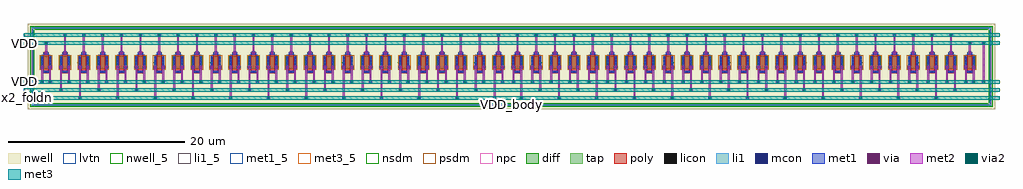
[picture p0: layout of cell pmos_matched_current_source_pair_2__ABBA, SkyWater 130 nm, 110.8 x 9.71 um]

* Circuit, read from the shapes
.subckt pmos_matched_current_source_pair_2__ABBA VDD VDD_body bias_b x2_foldn x2_foldp
XM1 VDD VDD VDD VDD_body sky130_fd_pr__pfet_01v8_lvt w=1.4 l=0.6 m=2
XM2 VDD bias_b x2_foldp VDD_body sky130_fd_pr__pfet_01v8_lvt w=1.4 l=0.6 m=24
XM3 VDD bias_b x2_foldn VDD_body sky130_fd_pr__pfet_01v8_lvt w=1.4 l=0.6 m=24
.ends

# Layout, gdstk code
from math import pi, radians
import gdstk
lib = gdstk.Library(unit=1e-6, precision=1e-09)
def R(c, l, rs):  # rectangles x0, y0, x1, y1
    for r in rs: c.add(gdstk.rectangle(r[:2], r[2:], *l))
def A(c, l, x, y, w, h, nx, ny, dx, dy):  # array of equal rectangles
    R(c, l, [(x+i*dx, y+j*dy, x+i*dx+w, y+j*dy+h) for i in range(nx) for j in range(ny)])
nwell_5 = (64, 5)
nwell = (64, 20)
diff = (65, 20)
tap = (65, 44)
poly = (66, 20)
licon = (66, 44)
li1_5 = (67, 5)
li1 = (67, 20)
mcon = (67, 44)
met1_5 = (68, 5)
met1 = (68, 20)
via = (68, 44)
met2 = (69, 20)
via2 = (69, 44)
met3_5 = (70, 5)
met3 = (70, 20)
nsdm = (93, 44)
psdm = (94, 20)
npc = (95, 20)
lvtn = (125, 44)

sky130_fd_pr__pfet_01v8_ = lib.new_cell('sky130_fd_pr__pfet_01v8_lvt_PJ46JE')
R(sky130_fd_pr__pfet_01v8_, nwell, [(-0.77,-1.2,0.77,1.2)])
R(sky130_fd_pr__pfet_01v8_, diff, [(-0.59,-0.7,0.59,0.7)])
R(sky130_fd_pr__pfet_01v8_, poly, [(-0.3,-1.185,0.3,1.185)])
A(sky130_fd_pr__pfet_01v8_, licon, -0.53, -0.595, 0.17, 0.17, 1, 4, 0, 0.34)
A(sky130_fd_pr__pfet_01v8_, licon, 0.36, -0.595, 0.17, 0.17, 1, 4, 0, 0.34)
R(sky130_fd_pr__pfet_01v8_, licon, [(-0.085,-1.105,0.085,-0.935), (-0.085,0.935,0.085,1.105)])
R(sky130_fd_pr__pfet_01v8_, li1, [(-0.3,-1.105,0.3,-0.935), (-0.53,-0.72,-0.36,0.72), (0.36,-0.72,0.53,0.72), (-0.3,0.935,0.3,1.105)])
A(sky130_fd_pr__pfet_01v8_, mcon, -0.53, -0.625, 0.17, 0.17, 1, 4, 0, 0.36)
A(sky130_fd_pr__pfet_01v8_, mcon, 0.36, -0.625, 0.17, 0.17, 1, 4, 0, 0.36)
R(sky130_fd_pr__pfet_01v8_, mcon, [(-0.085,-1.105,0.085,-0.935), (-0.085,0.935,0.085,1.105)])
R(sky130_fd_pr__pfet_01v8_, met1, [(-0.28,-1.135,0.28,-0.905), (-0.56,-0.7,-0.33,0.7), (0.33,-0.7,0.56,0.7), (-0.28,0.905,0.28,1.135)])
R(sky130_fd_pr__pfet_01v8_, psdm, [(-0.715,-0.825,0.715,0.825)])
R(sky130_fd_pr__pfet_01v8_, npc, [(-0.185,-1.205,0.185,-0.835), (-0.185,0.835,0.185,1.205)])
R(sky130_fd_pr__pfet_01v8_, lvtn, [(-0.48,-0.88,0.48,0.88)])
sky130_fd_pr__pfet_01v8_.add(gdstk.Label('D', (-0.445,0), layer=67, texttype=5))
sky130_fd_pr__pfet_01v8_.add(gdstk.Label('S', (0.445,0), layer=67, texttype=5))
sky130_fd_pr__pfet_01v8_.add(gdstk.Label('G', (0,1.02), layer=67, texttype=5))

pfet_01v8_lvt_w1p4_l0p6_ = lib.new_cell('pfet_01v8_lvt_W1p4_L0p6_m24__nf1_gboth_sdfull_ng')
R(pfet_01v8_lvt_w1p4_l0p6_, nwell_5, [(0.05,1.15,0.15,1.25)])
R(pfet_01v8_lvt_w1p4_l0p6_, nwell, [(0.05,1.15,0.15,1.25)])
R(pfet_01v8_lvt_w1p4_l0p6_, met1_5, [(0.21,1.2,0.44,1.4), (1.1,1.2,1.33,1.4), (0.49,2.105,1.05,2.335)])
R(pfet_01v8_lvt_w1p4_l0p6_, met1, [(0.21,1.2,0.44,1.4), (1.1,1.2,1.33,1.4), (0.49,2.105,1.05,2.335)])
pfet_01v8_lvt_w1p4_l0p6_.add(gdstk.Reference(sky130_fd_pr__pfet_01v8_, (0.77,1.2)))
pfet_01v8_lvt_w1p4_l0p6_.add(gdstk.Label('D', (0.325,1.3), layer=68, texttype=5))
pfet_01v8_lvt_w1p4_l0p6_.add(gdstk.Label('S', (1.215,1.3), layer=68, texttype=5))
pfet_01v8_lvt_w1p4_l0p6_.add(gdstk.Label('G', (0.77,2.22), layer=68, texttype=5))
pfet_01v8_lvt_w1p4_l0p6_.add(gdstk.Label('B', (0.1,1.2), layer=64, texttype=5))

pmos_matched_current_sou = lib.new_cell('pmos_matched_current_source_pair_2__ABBA')
R(pmos_matched_current_sou, nwell, [(-1.3,-4.1,108.5,5.61)])
R(pmos_matched_current_sou, tap, [(-0.885,-3.685,108.085,-3.515), (-0.885,-3.515,-0.715,5.025), (107.915,-3.515,108.085,5.025), (-0.885,5.025,108.085,5.195)])
A(pmos_matched_current_sou, licon, -0.545, -3.685, 0.17, 0.17, 319, 2, 0.34, 8.71)
A(pmos_matched_current_sou, licon, -0.885, -3.24, 0.17, 0.17, 1, 24, 0, 0.34)
A(pmos_matched_current_sou, licon, 107.915, -3.24, 0.17, 0.17, 1, 24, 0, 0.34)
R(pmos_matched_current_sou, li1_5, [(53.55,-3.65,53.65,-3.55)])
R(pmos_matched_current_sou, li1, [(-0.885,-3.685,108.085,-3.515), (-0.885,-3.515,-0.715,5.025), (107.915,-3.515,108.085,5.025), (-0.885,5.025,108.085,5.195)])
A(pmos_matched_current_sou, met1, 0.59, 2.14, 0.36, 0.36, 50, 1, 2.14, 0)
R(pmos_matched_current_sou, met1, [(0.145,0.505,0.505,0.865), (1.035,0.505,1.395,0.865), (2.285,0.505,2.645,0.865), (3.175,0.505,3.535,0.865), (4.425,0.505,4.785,0.865), (5.315,0.505,5.675,0.865), (6.565,0.505,6.925,0.865), (7.455,0.505,7.815,0.865), (8.705,0.505,9.065,0.865), (9.595,0.505,9.955,0.865), (10.845,0.505,11.205,0.865), (11.735,0.505,12.095,0.865), (12.985,0.505,13.345,0.865), (13.875,0.505,14.235,0.865), (15.125,0.505,15.485,0.865), (16.015,0.505,16.375,0.865), (17.265,0.505,17.625,0.865), (18.155,0.505,18.515,0.865), (19.405,0.505,19.765,0.865), (20.295,0.505,20.655,0.865), (21.545,0.505,21.905,0.865), (22.435,0.505,22.795,0.865), (23.685,0.505,24.045,0.865), (24.575,0.505,24.935,0.865), (25.825,0.505,26.185,0.865), (26.715,0.505,27.075,0.865), (27.965,0.505,28.325,0.865), (28.855,0.505,29.215,0.865), (30.105,0.505,30.465,0.865), (30.995,0.505,31.355,0.865), (32.245,0.505,32.605,0.865), (33.135,0.505,33.495,0.865), (34.385,0.505,34.745,0.865), (35.275,0.505,35.635,0.865), (36.525,0.505,36.885,0.865), (37.415,0.505,37.775,0.865), (38.665,0.505,39.025,0.865), (39.555,0.505,39.915,0.865), (40.805,0.505,41.165,0.865), (41.695,0.505,42.055,0.865), (42.945,0.505,43.305,0.865), (43.835,0.505,44.195,0.865), (45.085,0.505,45.445,0.865), (45.975,0.505,46.335,0.865), (47.225,0.505,47.585,0.865), (48.115,0.505,48.475,0.865), (49.365,0.505,49.725,0.865), (50.255,0.505,50.615,0.865), (51.505,0.505,51.865,0.865), (52.395,0.505,52.755,0.865), (53.645,0.505,54.005,0.865), (54.535,0.505,54.895,0.865), (55.785,0.505,56.145,0.865), (56.675,0.505,57.035,0.865), (57.925,0.505,58.285,0.865), (58.815,0.505,59.175,0.865), (60.065,0.505,60.425,0.865), (60.955,0.505,61.315,0.865), (62.205,0.505,62.565,0.865), (63.095,0.505,63.455,0.865), (64.345,0.505,64.705,0.865), (65.235,0.505,65.595,0.865), (66.485,0.505,66.845,0.865), (67.375,0.505,67.735,0.865), (68.625,0.505,68.985,0.865), (69.515,0.505,69.875,0.865), (70.765,0.505,71.125,0.865), (71.655,0.505,72.015,0.865), (72.905,0.505,73.265,0.865), (73.795,0.505,74.155,0.865), (75.045,0.505,75.405,0.865), (75.935,0.505,76.295,0.865), (77.185,0.505,77.545,0.865), (78.075,0.505,78.435,0.865), (79.325,0.505,79.685,0.865), (80.215,0.505,80.575,0.865), (81.465,0.505,81.825,0.865), (82.355,0.505,82.715,0.865), (83.605,0.505,83.965,0.865), (84.495,0.505,84.855,0.865), (85.745,0.505,86.105,0.865), (86.635,0.505,86.995,0.865), (87.885,0.505,88.245,0.865), (88.775,0.505,89.135,0.865), (90.025,0.505,90.385,0.865), (90.915,0.505,91.275,0.865), (92.165,0.505,92.525,0.865), (93.055,0.505,93.415,0.865), (94.305,0.505,94.665,0.865), (95.195,0.505,95.555,0.865), (96.445,0.505,96.805,0.865), (97.335,0.505,97.695,0.865), (98.585,0.505,98.945,0.865), (99.475,0.505,99.835,0.865), (100.725,0.505,101.085,0.865), (101.615,0.505,101.975,0.865), (102.865,0.505,103.225,0.865), (103.755,0.505,104.115,0.865), (105.005,0.505,105.365,0.865), (105.895,0.505,106.255,0.865)])
A(pmos_matched_current_sou, via, 0.695, 2.245, 0.15, 0.15, 50, 1, 2.14, 0)
R(pmos_matched_current_sou, via, [(0.25,0.61,0.4,0.76), (1.14,0.61,1.29,0.76), (2.39,0.61,2.54,0.76), (3.28,0.61,3.43,0.76), (4.53,0.61,4.68,0.76), (5.42,0.61,5.57,0.76), (6.67,0.61,6.82,0.76), (7.56,0.61,7.71,0.76), (8.81,0.61,8.96,0.76), (9.7,0.61,9.85,0.76), (10.95,0.61,11.1,0.76), (11.84,0.61,11.99,0.76), (13.09,0.61,13.24,0.76), (13.98,0.61,14.13,0.76), (15.23,0.61,15.38,0.76), (16.12,0.61,16.27,0.76), (17.37,0.61,17.52,0.76), (18.26,0.61,18.41,0.76), (19.51,0.61,19.66,0.76), (20.4,0.61,20.55,0.76), (21.65,0.61,21.8,0.76), (22.54,0.61,22.69,0.76), (23.79,0.61,23.94,0.76), (24.68,0.61,24.83,0.76), (25.93,0.61,26.08,0.76), (26.82,0.61,26.97,0.76), (28.07,0.61,28.22,0.76), (28.96,0.61,29.11,0.76), (30.21,0.61,30.36,0.76), (31.1,0.61,31.25,0.76), (32.35,0.61,32.5,0.76), (33.24,0.61,33.39,0.76), (34.49,0.61,34.64,0.76), (35.38,0.61,35.53,0.76), (36.63,0.61,36.78,0.76), (37.52,0.61,37.67,0.76), (38.77,0.61,38.92,0.76), (39.66,0.61,39.81,0.76), (40.91,0.61,41.06,0.76), (41.8,0.61,41.95,0.76), (43.05,0.61,43.2,0.76), (43.94,0.61,44.09,0.76), (45.19,0.61,45.34,0.76), (46.08,0.61,46.23,0.76), (47.33,0.61,47.48,0.76), (48.22,0.61,48.37,0.76), (49.47,0.61,49.62,0.76), (50.36,0.61,50.51,0.76), (51.61,0.61,51.76,0.76), (52.5,0.61,52.65,0.76), (53.75,0.61,53.9,0.76), (54.64,0.61,54.79,0.76), (55.89,0.61,56.04,0.76), (56.78,0.61,56.93,0.76), (58.03,0.61,58.18,0.76), (58.92,0.61,59.07,0.76), (60.17,0.61,60.32,0.76), (61.06,0.61,61.21,0.76), (62.31,0.61,62.46,0.76), (63.2,0.61,63.35,0.76), (64.45,0.61,64.6,0.76), (65.34,0.61,65.49,0.76), (66.59,0.61,66.74,0.76), (67.48,0.61,67.63,0.76), (68.73,0.61,68.88,0.76), (69.62,0.61,69.77,0.76), (70.87,0.61,71.02,0.76), (71.76,0.61,71.91,0.76), (73.01,0.61,73.16,0.76), (73.9,0.61,74.05,0.76), (75.15,0.61,75.3,0.76), (76.04,0.61,76.19,0.76), (77.29,0.61,77.44,0.76), (78.18,0.61,78.33,0.76), (79.43,0.61,79.58,0.76), (80.32,0.61,80.47,0.76), (81.57,0.61,81.72,0.76), (82.46,0.61,82.61,0.76), (83.71,0.61,83.86,0.76), (84.6,0.61,84.75,0.76), (85.85,0.61,86,0.76), (86.74,0.61,86.89,0.76), (87.99,0.61,88.14,0.76), (88.88,0.61,89.03,0.76), (90.13,0.61,90.28,0.76), (91.02,0.61,91.17,0.76), (92.27,0.61,92.42,0.76), (93.16,0.61,93.31,0.76), (94.41,0.61,94.56,0.76), (95.3,0.61,95.45,0.76), (96.55,0.61,96.7,0.76), (97.44,0.61,97.59,0.76), (98.69,0.61,98.84,0.76), (99.58,0.61,99.73,0.76), (100.83,0.61,100.98,0.76), (101.72,0.61,101.87,0.76), (102.97,0.61,103.12,0.76), (103.86,0.61,104.01,0.76), (105.11,0.61,105.26,0.76), (106,0.61,106.15,0.76)])
A(pmos_matched_current_sou, met2, 4.405, -3, 0.4, 0.4, 12, 1, 4.28, 0)
A(pmos_matched_current_sou, met2, 54.515, -3, 0.4, 0.4, 12, 1, 4.28, 0)
A(pmos_matched_current_sou, met2, 4.505, -2.6, 0.2, 3.125, 12, 1, 4.28, 0)
A(pmos_matched_current_sou, met2, 54.615, -2.6, 0.2, 3.125, 12, 1, 4.28, 0)
A(pmos_matched_current_sou, met2, 2.265, -2.1, 0.4, 0.4, 12, 1, 4.28, 0)
A(pmos_matched_current_sou, met2, 56.655, -2.1, 0.4, 0.4, 12, 1, 4.28, 0)
A(pmos_matched_current_sou, met2, 2.365, -1.7, 0.2, 2.225, 12, 1, 4.28, 0)
A(pmos_matched_current_sou, met2, 56.755, -1.7, 0.2, 2.225, 12, 1, 4.28, 0)
A(pmos_matched_current_sou, met2, 1.015, -1.2, 0.4, 0.4, 25, 1, 2.14, 0)
A(pmos_matched_current_sou, met2, 53.625, -1.2, 0.4, 0.4, 25, 1, 2.14, 0)
A(pmos_matched_current_sou, met2, 1.115, -0.8, 0.2, 1.325, 25, 1, 2.14, 0)
A(pmos_matched_current_sou, met2, 53.725, -0.8, 0.2, 1.325, 25, 1, 2.14, 0)
A(pmos_matched_current_sou, met2, 0.64, 2.16, 0.26, 0.32, 50, 1, 2.14, 0)
A(pmos_matched_current_sou, met2, 2.81, 2.48, 0.2, 1.63, 48, 1, 2.14, 0)
A(pmos_matched_current_sou, met2, 2.71, 4.11, 0.4, 0.4, 48, 1, 2.14, 0)
R(pmos_matched_current_sou, met2, [(0.125,-1.2,0.525,-0.8), (105.875,-1.2,106.275,-0.8), (107,-1.2,107.4,-0.8), (0.225,-0.8,0.425,0.525), (105.975,-0.8,106.175,0.525), (107.1,-0.8,107.3,3.21), (0.195,0.525,0.455,0.845), (1.085,0.525,1.345,0.845), (2.335,0.525,2.595,0.845), (3.225,0.525,3.485,0.845), (4.475,0.525,4.735,0.845), (5.365,0.525,5.625,0.845), (6.615,0.525,6.875,0.845), (7.505,0.525,7.765,0.845), (8.755,0.525,9.015,0.845), (9.645,0.525,9.905,0.845), (10.895,0.525,11.155,0.845), (11.785,0.525,12.045,0.845), (13.035,0.525,13.295,0.845), (13.925,0.525,14.185,0.845), (15.175,0.525,15.435,0.845), (16.065,0.525,16.325,0.845), (17.315,0.525,17.575,0.845), (18.205,0.525,18.465,0.845), (19.455,0.525,19.715,0.845), (20.345,0.525,20.605,0.845), (21.595,0.525,21.855,0.845), (22.485,0.525,22.745,0.845), (23.735,0.525,23.995,0.845), (24.625,0.525,24.885,0.845), (25.875,0.525,26.135,0.845), (26.765,0.525,27.025,0.845), (28.015,0.525,28.275,0.845), (28.905,0.525,29.165,0.845), (30.155,0.525,30.415,0.845), (31.045,0.525,31.305,0.845), (32.295,0.525,32.555,0.845), (33.185,0.525,33.445,0.845), (34.435,0.525,34.695,0.845), (35.325,0.525,35.585,0.845), (36.575,0.525,36.835,0.845), (37.465,0.525,37.725,0.845), (38.715,0.525,38.975,0.845), (39.605,0.525,39.865,0.845), (40.855,0.525,41.115,0.845), (41.745,0.525,42.005,0.845), (42.995,0.525,43.255,0.845), (43.885,0.525,44.145,0.845), (45.135,0.525,45.395,0.845), (46.025,0.525,46.285,0.845), (47.275,0.525,47.535,0.845), (48.165,0.525,48.425,0.845), (49.415,0.525,49.675,0.845), (50.305,0.525,50.565,0.845), (51.555,0.525,51.815,0.845), (52.445,0.525,52.705,0.845), (53.695,0.525,53.955,0.845), (54.585,0.525,54.845,0.845), (55.835,0.525,56.095,0.845), (56.725,0.525,56.985,0.845), (57.975,0.525,58.235,0.845), (58.865,0.525,59.125,0.845), (60.115,0.525,60.375,0.845), (61.005,0.525,61.265,0.845), (62.255,0.525,62.515,0.845), (63.145,0.525,63.405,0.845), (64.395,0.525,64.655,0.845), (65.285,0.525,65.545,0.845), (66.535,0.525,66.795,0.845), (67.425,0.525,67.685,0.845), (68.675,0.525,68.935,0.845), (69.565,0.525,69.825,0.845), (70.815,0.525,71.075,0.845), (71.705,0.525,71.965,0.845), (72.955,0.525,73.215,0.845), (73.845,0.525,74.105,0.845), (75.095,0.525,75.355,0.845), (75.985,0.525,76.245,0.845), (77.235,0.525,77.495,0.845), (78.125,0.525,78.385,0.845), (79.375,0.525,79.635,0.845), (80.265,0.525,80.525,0.845), (81.515,0.525,81.775,0.845), (82.405,0.525,82.665,0.845), (83.655,0.525,83.915,0.845), (84.545,0.525,84.805,0.845), (85.795,0.525,86.055,0.845), (86.685,0.525,86.945,0.845), (87.935,0.525,88.195,0.845), (88.825,0.525,89.085,0.845), (90.075,0.525,90.335,0.845), (90.965,0.525,91.225,0.845), (92.215,0.525,92.475,0.845), (93.105,0.525,93.365,0.845), (94.355,0.525,94.615,0.845), (95.245,0.525,95.505,0.845), (96.495,0.525,96.755,0.845), (97.385,0.525,97.645,0.845), (98.635,0.525,98.895,0.845), (99.525,0.525,99.785,0.845), (100.775,0.525,101.035,0.845), (101.665,0.525,101.925,0.845), (102.915,0.525,103.175,0.845), (103.805,0.525,104.065,0.845), (105.055,0.525,105.315,0.845), (105.945,0.525,106.205,0.845), (0.67,2.48,0.87,3.21), (105.53,2.48,105.73,3.21), (0.57,3.21,0.97,3.61), (105.43,3.21,105.83,3.61), (107,3.21,107.4,3.61)])
A(pmos_matched_current_sou, via2, 4.505, -2.9, 0.2, 0.2, 12, 1, 4.28, 0)
A(pmos_matched_current_sou, via2, 54.615, -2.9, 0.2, 0.2, 12, 1, 4.28, 0)
A(pmos_matched_current_sou, via2, 2.365, -2, 0.2, 0.2, 12, 1, 4.28, 0)
A(pmos_matched_current_sou, via2, 56.755, -2, 0.2, 0.2, 12, 1, 4.28, 0)
A(pmos_matched_current_sou, via2, 1.115, -1.1, 0.2, 0.2, 25, 1, 2.14, 0)
A(pmos_matched_current_sou, via2, 53.725, -1.1, 0.2, 0.2, 25, 1, 2.14, 0)
A(pmos_matched_current_sou, via2, 2.81, 4.21, 0.2, 0.2, 48, 1, 2.14, 0)
R(pmos_matched_current_sou, via2, [(0.225,-1.1,0.425,-0.9), (105.975,-1.1,106.175,-0.9), (107.1,-1.1,107.3,-0.9), (0.67,3.31,0.87,3.51), (105.53,3.31,105.73,3.51), (107.1,3.31,107.3,3.51)])
A(pmos_matched_current_sou, met3_5, -1.7, -2.85, 0.1, 0.1, 1, 3, 0, 0.9)
R(pmos_matched_current_sou, met3_5, [(-1.7,3.36,-1.6,3.46), (-1.7,4.26,-1.6,4.36)])
A(pmos_matched_current_sou, met3, -1.8, -3, 110.8, 0.4, 1, 3, 0, 0.9)
R(pmos_matched_current_sou, met3, [(-1.8,3.21,109,3.61), (-1.8,4.11,109,4.51)])
R(pmos_matched_current_sou, nsdm, [(-1.01,-3.81,108.21,-3.39), (-1.01,-3.39,-0.59,4.9), (107.79,-3.39,108.21,4.9), (-1.01,4.9,108.21,5.32)])
pmos_matched_current_sou.add(gdstk.Reference(pfet_01v8_lvt_w1p4_l0p6_, (106.4,0), rotation=pi, x_reflection=True))
pmos_matched_current_sou.add(gdstk.Reference(pfet_01v8_lvt_w1p4_l0p6_, (104.26,0), rotation=pi, x_reflection=True))
pmos_matched_current_sou.add(gdstk.Reference(pfet_01v8_lvt_w1p4_l0p6_, (102.12,0), rotation=pi, x_reflection=True))
pmos_matched_current_sou.add(gdstk.Reference(pfet_01v8_lvt_w1p4_l0p6_, (99.98,0), rotation=pi, x_reflection=True))
pmos_matched_current_sou.add(gdstk.Reference(pfet_01v8_lvt_w1p4_l0p6_, (97.84,0), rotation=pi, x_reflection=True))
pmos_matched_current_sou.add(gdstk.Reference(pfet_01v8_lvt_w1p4_l0p6_, (95.7,0), rotation=pi, x_reflection=True))
pmos_matched_current_sou.add(gdstk.Reference(pfet_01v8_lvt_w1p4_l0p6_, (93.56,0), rotation=pi, x_reflection=True))
pmos_matched_current_sou.add(gdstk.Reference(pfet_01v8_lvt_w1p4_l0p6_, (91.42,0), rotation=pi, x_reflection=True))
pmos_matched_current_sou.add(gdstk.Reference(pfet_01v8_lvt_w1p4_l0p6_, (89.28,0), rotation=pi, x_reflection=True))
pmos_matched_current_sou.add(gdstk.Reference(pfet_01v8_lvt_w1p4_l0p6_, (87.14,0), rotation=pi, x_reflection=True))
pmos_matched_current_sou.add(gdstk.Reference(pfet_01v8_lvt_w1p4_l0p6_, (85,0), rotation=pi, x_reflection=True))
pmos_matched_current_sou.add(gdstk.Reference(pfet_01v8_lvt_w1p4_l0p6_, (82.86,0), rotation=pi, x_reflection=True))
pmos_matched_current_sou.add(gdstk.Reference(pfet_01v8_lvt_w1p4_l0p6_, (80.72,0), rotation=pi, x_reflection=True))
pmos_matched_current_sou.add(gdstk.Reference(pfet_01v8_lvt_w1p4_l0p6_, (78.58,0), rotation=pi, x_reflection=True))
pmos_matched_current_sou.add(gdstk.Reference(pfet_01v8_lvt_w1p4_l0p6_, (76.44,0), rotation=pi, x_reflection=True))
pmos_matched_current_sou.add(gdstk.Reference(pfet_01v8_lvt_w1p4_l0p6_, (74.3,0), rotation=pi, x_reflection=True))
pmos_matched_current_sou.add(gdstk.Reference(pfet_01v8_lvt_w1p4_l0p6_, (72.16,0), rotation=pi, x_reflection=True))
pmos_matched_current_sou.add(gdstk.Reference(pfet_01v8_lvt_w1p4_l0p6_, (70.02,0), rotation=pi, x_reflection=True))
pmos_matched_current_sou.add(gdstk.Reference(pfet_01v8_lvt_w1p4_l0p6_, (67.88,0), rotation=pi, x_reflection=True))
pmos_matched_current_sou.add(gdstk.Reference(pfet_01v8_lvt_w1p4_l0p6_, (65.74,0), rotation=pi, x_reflection=True))
pmos_matched_current_sou.add(gdstk.Reference(pfet_01v8_lvt_w1p4_l0p6_, (63.6,0), rotation=pi, x_reflection=True))
pmos_matched_current_sou.add(gdstk.Reference(pfet_01v8_lvt_w1p4_l0p6_, (61.46,0), rotation=pi, x_reflection=True))
pmos_matched_current_sou.add(gdstk.Reference(pfet_01v8_lvt_w1p4_l0p6_, (59.32,0), rotation=pi, x_reflection=True))
pmos_matched_current_sou.add(gdstk.Reference(pfet_01v8_lvt_w1p4_l0p6_, (57.18,0), rotation=pi, x_reflection=True))
pmos_matched_current_sou.add(gdstk.Reference(pfet_01v8_lvt_w1p4_l0p6_, (55.04,0), rotation=pi, x_reflection=True))
pmos_matched_current_sou.add(gdstk.Reference(pfet_01v8_lvt_w1p4_l0p6_, (51.36,0)))
pmos_matched_current_sou.add(gdstk.Reference(pfet_01v8_lvt_w1p4_l0p6_, (49.22,0)))
pmos_matched_current_sou.add(gdstk.Reference(pfet_01v8_lvt_w1p4_l0p6_, (47.08,0)))
pmos_matched_current_sou.add(gdstk.Reference(pfet_01v8_lvt_w1p4_l0p6_, (44.94,0)))
pmos_matched_current_sou.add(gdstk.Reference(pfet_01v8_lvt_w1p4_l0p6_, (42.8,0)))
pmos_matched_current_sou.add(gdstk.Reference(pfet_01v8_lvt_w1p4_l0p6_, (40.66,0)))
pmos_matched_current_sou.add(gdstk.Reference(pfet_01v8_lvt_w1p4_l0p6_, (38.52,0)))
pmos_matched_current_sou.add(gdstk.Reference(pfet_01v8_lvt_w1p4_l0p6_, (36.38,0)))
pmos_matched_current_sou.add(gdstk.Reference(pfet_01v8_lvt_w1p4_l0p6_, (34.24,0)))
pmos_matched_current_sou.add(gdstk.Reference(pfet_01v8_lvt_w1p4_l0p6_, (32.1,0)))
pmos_matched_current_sou.add(gdstk.Reference(pfet_01v8_lvt_w1p4_l0p6_, (29.96,0)))
pmos_matched_current_sou.add(gdstk.Reference(pfet_01v8_lvt_w1p4_l0p6_, (27.82,0)))
pmos_matched_current_sou.add(gdstk.Reference(pfet_01v8_lvt_w1p4_l0p6_, (25.68,0)))
pmos_matched_current_sou.add(gdstk.Reference(pfet_01v8_lvt_w1p4_l0p6_, (23.54,0)))
pmos_matched_current_sou.add(gdstk.Reference(pfet_01v8_lvt_w1p4_l0p6_, (21.4,0)))
pmos_matched_current_sou.add(gdstk.Reference(pfet_01v8_lvt_w1p4_l0p6_, (19.26,0)))
pmos_matched_current_sou.add(gdstk.Reference(pfet_01v8_lvt_w1p4_l0p6_, (17.12,0)))
pmos_matched_current_sou.add(gdstk.Reference(pfet_01v8_lvt_w1p4_l0p6_, (14.98,0)))
pmos_matched_current_sou.add(gdstk.Reference(pfet_01v8_lvt_w1p4_l0p6_, (12.84,0)))
pmos_matched_current_sou.add(gdstk.Reference(pfet_01v8_lvt_w1p4_l0p6_, (10.7,0)))
pmos_matched_current_sou.add(gdstk.Reference(pfet_01v8_lvt_w1p4_l0p6_, (8.56,0)))
pmos_matched_current_sou.add(gdstk.Reference(pfet_01v8_lvt_w1p4_l0p6_, (6.42,0)))
pmos_matched_current_sou.add(gdstk.Reference(pfet_01v8_lvt_w1p4_l0p6_, (4.28,0)))
pmos_matched_current_sou.add(gdstk.Reference(pfet_01v8_lvt_w1p4_l0p6_, (2.14,0)))
pmos_matched_current_sou.add(gdstk.Reference(pfet_01v8_lvt_w1p4_l0p6_, (0,0)))
pmos_matched_current_sou.add(gdstk.Label('VDD', (-1.65,3.41), layer=70, texttype=5))
pmos_matched_current_sou.add(gdstk.Label('bias_b', (-1.65,4.31), layer=70, texttype=5))
pmos_matched_current_sou.add(gdstk.Label('VDD', (-1.65,-1), layer=70, texttype=5))
pmos_matched_current_sou.add(gdstk.Label('x2_foldp', (-1.65,-1.9), layer=70, texttype=5))
pmos_matched_current_sou.add(gdstk.Label('x2_foldn', (-1.65,-2.8), layer=70, texttype=5))
pmos_matched_current_sou.add(gdstk.Label('VDD_body', (53.6,-3.6), layer=67, texttype=5))

lib.write_gds('pmos_matched_current_source_pair_2__ABBA.gds')
